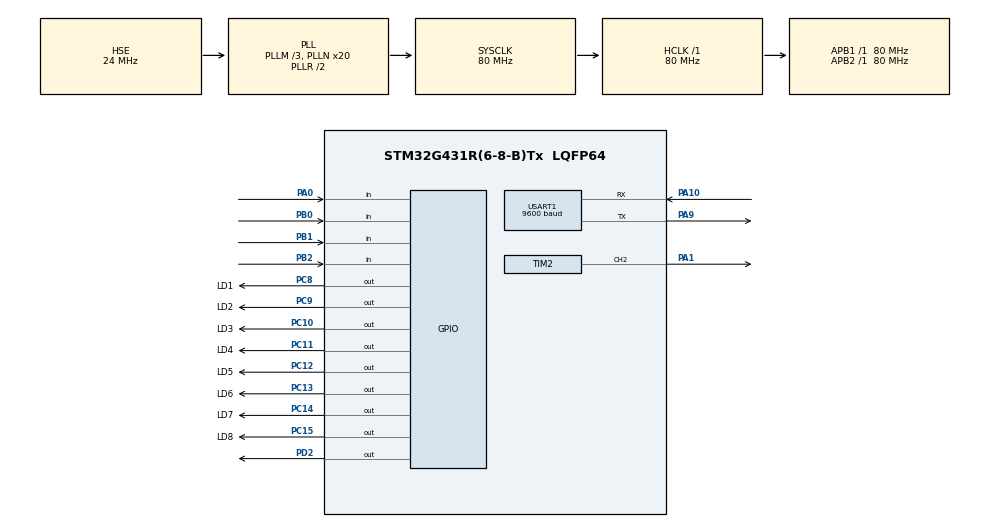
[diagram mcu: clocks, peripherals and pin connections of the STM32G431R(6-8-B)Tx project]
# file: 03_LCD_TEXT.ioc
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Mcu.Family=STM32G4
Mcu.Name=STM32G431R(6-8-B)Tx
Mcu.Package=LQFP64
NVIC.PriorityGroup=NVIC_PRIORITYGROUP_4
NVIC.TIM6_DAC_IRQn=true\:0\:0\:false\:false\:true\:true\:true\:true
NVIC.USART1_IRQn=true\:0\:0\:false\:false\:true\:true\:true\:true
PA0.Signal=GPIO_Input
PA1.Signal=S_TIM2_CH2
PA10.Mode=Asynchronous
PA10.Signal=USART1_RX
PA13.Mode=Serial_Wire
PA13.Signal=SYS_JTMS-SWDIO
PA14.Mode=Serial_Wire
PA14.Signal=SYS_JTCK-SWCLK
PA9.Mode=Asynchronous
PA9.Signal=USART1_TX
PB0.Signal=GPIO_Input
PB1.Signal=GPIO_Input
PB2.Signal=GPIO_Input
PC10.GPIO_Label=LD3
PC10.PinState=GPIO_PIN_SET
PC10.Signal=GPIO_Output
PC11.GPIO_Label=LD4
PC11.PinState=GPIO_PIN_SET
PC11.Signal=GPIO_Output
PC12.GPIO_Label=LD5
PC12.PinState=GPIO_PIN_SET
PC12.Signal=GPIO_Output
PC13.GPIO_Label=LD6
PC13.PinState=GPIO_PIN_SET
PC13.Signal=GPIO_Output
PC14-OSC32_IN.GPIO_Label=LD7
PC14-OSC32_IN.PinState=GPIO_PIN_SET
PC14-OSC32_IN.Signal=GPIO_Output
PC15-OSC32_OUT.GPIO_Label=LD8
PC15-OSC32_OUT.PinState=GPIO_PIN_SET
PC15-OSC32_OUT.Signal=GPIO_Output
PC8.GPIO_Label=LD1
PC8.PinState=GPIO_PIN_SET
PC8.Signal=GPIO_Output
PC9.GPIO_Label=LD2
PC9.PinState=GPIO_PIN_SET
PC9.Signal=GPIO_Output
PD2.Signal=GPIO_Output
PF0-OSC_IN.Mode=HSE-External-Oscillator
PF0-OSC_IN.Signal=RCC_OSC_IN
PF1-OSC_OUT.Mode=HSE-External-Oscillator
PF1-OSC_OUT.Signal=RCC_OSC_OUT
ProjectManager.HeapSize=0x200
ProjectManager.StackSize=0x400
ProjectManager.TargetToolchain=MDK-ARM V5.32
RCC.ADC12Freq_Value=80000000
RCC.AHBFreq_Value=80000000
RCC.APB1Freq_Value=80000000
RCC.APB1TimFreq_Value=80000000
RCC.APB2Freq_Value=80000000
RCC.APB2TimFreq_Value=80000000
RCC.CortexFreq_Value=80000000
RCC.EXTERNAL_CLOCK_VALUE=12288000
RCC.HCLKFreq_Value=80000000
RCC.HSE_VALUE=24000000
RCC.HSI48_VALUE=48000000
RCC.HSI_VALUE=16000000
RCC.LSE_VALUE=32768
RCC.PLLM=RCC_PLLM_DIV3
RCC.PLLN=20
RCC.PLLSourceVirtual=RCC_PLLSOURCE_HSE
RCC.SYSCLKFreq_VALUE=80000000
RCC.SYSCLKSource=RCC_SYSCLKSOURCE_PLLCLK
RCC.USBFreq_Value=80000000
RCC.VCOOutputFreq_Value=160000000
SH.S_TIM2_CH2.0=TIM2_CH2,PWM Generation2 CH2
TIM2.AutoReloadPreload=TIM_AUTORELOAD_PRELOAD_ENABLE
TIM2.Channel-PWM\ Generation2\ CH2=TIM_CHANNEL_2
TIM2.PeriodNoDither=999
TIM2.Prescaler=79
TIM6.AutoReloadPreload=TIM_AUTORELOAD_PRELOAD_ENABLE
TIM6.PeriodNoDither=999
TIM6.Prescaler=79
USART1.BaudRate=9600
USART1.VirtualMode-Asynchronous=VM_ASYNC
VP_SYS_VS_DBSignals.Mode=DisableDeadBatterySignals
VP_TIM2_VS_ClockSourceINT.Mode=Internal
VP_TIM6_VS_ClockSourceINT.Mode=Enable_Timer
board=custom

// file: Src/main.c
/* USER CODE BEGIN Header */
/**
  ******************************************************************************
  * @file           : main.c
  * @brief          : Main program body
  ******************************************************************************
  * @attention
  *
  * Copyright (c) 2023 STMicroelectronics.
  * All rights reserved.
  *
  * This software is licensed under terms that can be found in the LICENSE file
  * in the root directory of this software component.
  * If no LICENSE file comes with this software, it is provided AS-IS.
  *
  ******************************************************************************
  */
/* USER CODE END Header */
#include "main.h"
#include "tim.h"
#include "usart.h"
#include "gpio.h"

/* USER CODE BEGIN Includes */
#include <string.h>
#include <stdio.h>
#include "bsp_key.h"
#include "bsp_led.h"
#include "bsp_lcd.h"

/* USER CODE END Includes */

/* USER CODE BEGIN PV */

/* led专用变量 */

/* lcd专用变量 */
int freq = 1000;
uint8_t D_Pwm = 50;
uint8_t pwm_flag = 0;   /* 0为输出方波，1为输出脉冲 */
uint8_t Lcd_Disp_String[21];
uint8_t lcd_flag_show;

/* 串口专用变量 */
uint8_t rx, rx_buf[7];
uint8_t dex;  /* 密码修改数组索引 */

/* USER CODE END PV */

void SystemClock_Config(void);
/* USER CODE BEGIN PFP */
void LCD_Proc(void);
void LED_Proc(void);
int isRxCplt(void);
void Uart_Proc(void);

/* USER CODE END PFP */

int main(void)
{

  /* MCU Configuration--------------------------------------------------------*/

  /* Reset of all peripherals, Initializes the Flash interface and the Systick. */
  HAL_Init();

  /* Configure the system clock */
  SystemClock_Config();

  /* Initialize all configured peripherals */
  MX_GPIO_Init();
  MX_TIM6_Init();
  MX_USART1_UART_Init();
  MX_TIM2_Init();
  /* USER CODE BEGIN 2 */
	LCD_Init();  /*  LCD初始化 */

  /* USER CODE END 2 */

  /* Infinite loop */
  /* USER CODE BEGIN WHILE */
  LCD_Clear(White);
	LCD_SetBackColor(White);   // 背景颜色
	LCD_SetTextColor(Blue);    // 文本颜色
	HAL_TIM_Base_Start_IT(&htim6);  /* 基础定时器6(1ms)中断开启 */
	HAL_UART_Receive_IT(&huart1, &rx, 1);  /* 打开异步串口1通信 */
	HAL_TIM_PWM_Start(&htim2, TIM_CHANNEL_2);
	__HAL_TIM_SET_AUTORELOAD(&htim2, 999);  /* 设置频率1Khz */
	__HAL_TIM_SET_COMPARE(&htim2, TIM_CHANNEL_2, 500); /* 设置占空比为50% = 500/1000 */

  while (1)
  {
    /* USER CODE END WHILE */

    /* USER CODE BEGIN 3 */
		LED_Proc();
    LCD_Proc();
		Key_Proc();
		Uart_Proc();
  }
  /* USER CODE END 3 */
}

void SystemClock_Config(void)
{
  RCC_OscInitTypeDef RCC_OscInitStruct = {0};
  RCC_ClkInitTypeDef RCC_ClkInitStruct = {0};

  /** Configure the main internal regulator output voltage
  */
  HAL_PWREx_ControlVoltageScaling(PWR_REGULATOR_VOLTAGE_SCALE1);

  /** Initializes the RCC Oscillators according to the specified parameters
  * in the RCC_OscInitTypeDef structure.
  */
  RCC_OscInitStruct.OscillatorType = RCC_OSCILLATORTYPE_HSE;
  RCC_OscInitStruct.HSEState = RCC_HSE_ON;
  RCC_OscInitStruct.PLL.PLLState = RCC_PLL_ON;
  RCC_OscInitStruct.PLL.PLLSource = RCC_PLLSOURCE_HSE;
  RCC_OscInitStruct.PLL.PLLM = RCC_PLLM_DIV3;
  RCC_OscInitStruct.PLL.PLLN = 20;
  RCC_OscInitStruct.PLL.PLLP = RCC_PLLP_DIV2;
  RCC_OscInitStruct.PLL.PLLQ = RCC_PLLQ_DIV2;
  RCC_OscInitStruct.PLL.PLLR = RCC_PLLR_DIV2;
  if (HAL_RCC_OscConfig(&RCC_OscInitStruct) != HAL_OK)
  {
    Error_Handler();
  }

  /** Initializes the CPU, AHB and APB buses clocks
  */
  RCC_ClkInitStruct.ClockType = RCC_CLOCKTYPE_HCLK|RCC_CLOCKTYPE_SYSCLK
                              |RCC_CLOCKTYPE_PCLK1|RCC_CLOCKTYPE_PCLK2;
  RCC_ClkInitStruct.SYSCLKSource = RCC_SYSCLKSOURCE_PLLCLK;
  RCC_ClkInitStruct.AHBCLKDivider = RCC_SYSCLK_DIV1;
  RCC_ClkInitStruct.APB1CLKDivider = RCC_HCLK_DIV1;
  RCC_ClkInitStruct.APB2CLKDivider = RCC_HCLK_DIV1;

  if (HAL_RCC_ClockConfig(&RCC_ClkInitStruct, FLASH_LATENCY_2) != HAL_OK)
  {
    Error_Handler();
  }
}

/* USER CODE BEGIN 4 */

void LCD_Proc(void) {
	static __IO uint32_t uwTick_LCD_Speed = 0;

	if(uwTick - uwTick_LCD_Speed < 100) return;  /* 函数刷新频率 */
	uwTick_LCD_Speed = uwTick;

	if(lcd_flag_show == 1) {  /* 从STA界面切回PSD界面 需要清屏一次 */
		lcd_flag_show = 0;
		LCD_Clear(White);
	}

	/* 默认输出方波，占空比为50% */
	/* 在LED_Proc()中实现pwm_flag的控制 */
	if(pwm_flag == 0) {  /* 输出方波，占空比为50% */
		__HAL_TIM_SET_AUTORELOAD(&htim2, 999);  /* 设置频率1Khz */
		__HAL_TIM_SET_COMPARE(&htim2, TIM_CHANNEL_2, 500); /* 设置占空比为50% = 500/1000 */
	}
	else if(pwm_flag == 1) {  /* 密码正确输出脉冲，占空比为50% */
		__HAL_TIM_SET_AUTORELOAD(&htim2, 499);  /* 设置频率2Khz = 80Mhz/[(AUTORELOAD+1) + 80] 其中80为cubemx配置 */
		__HAL_TIM_SET_COMPARE(&htim2, TIM_CHANNEL_2, 50); /* 设置占空比为10% = 50/500*/
	}

	if(PSD_STA == 0) {  /* 在PSD界面 */
		sprintf((char* )Lcd_Disp_String, (const char* )"       P S D       ");
		LCD_DisplayStringLine(Line2, Lcd_Disp_String);

		sprintf((char* )Lcd_Disp_String, (const char* )"    B1 : %c", mima[0]);
		LCD_DisplayStringLine(Line4, Lcd_Disp_String);
		sprintf((char* )Lcd_Disp_String, (const char* )"    B2 : %c", mima[1]);
		LCD_DisplayStringLine(Line5, Lcd_Disp_String);
		sprintf((char* )Lcd_Disp_String, (const char* )"    B3 : %c", mima[2]);
		LCD_DisplayStringLine(Line6, Lcd_Disp_String);

	}
	else if(PSD_STA == 1) {  /* 在STA界面 */
		memset(Lcd_Disp_String, '\0', sizeof(Lcd_Disp_String));
		sprintf((char* )Lcd_Disp_String, (const char* )"       S T A       ");
		LCD_DisplayStringLine(Line2, Lcd_Disp_String);

		if(pwm_flag == 1) { freq = 2000; D_Pwm = 10; } /* 密码正确后输出脉冲，占空比为10% */
		else { freq = 1000; D_Pwm = 50; }  /* 5s后输出方波，占空比为50% */

		sprintf((char* )Lcd_Disp_String, (const char* )"    F : %04dHz", freq);
		LCD_DisplayStringLine(Line4, Lcd_Disp_String);
		sprintf((char* )Lcd_Disp_String, (const char* )"    D : %02d%%", D_Pwm);
		LCD_DisplayStringLine(Line5, Lcd_Disp_String);
	}

}

void LED_Proc(void) {
    static __IO uint32_t uwTick_LED_Speed;
    if((uwTick - uwTick_LED_Speed) < 100)  return;
		uwTick_LED_Speed = uwTick;

		LED_CLOSE();  // 关灯

		if(right_flag) {  /* 密码输入正确 */
			LED_Disp_OP(LD1);
			pwm_flag = 1;  /* 输出脉冲 */
		}
		else {
			LED_Disp_CL(LD1);
			pwm_flag = 0;  /* 输出脉冲 */
		}

		if(ld2_YN_flag) {
			if(flag)
				LED_Disp_OP(LD2);
			else
				LED_Disp_CL(LD2);
		}
		else LED_Disp_CL(LD2);
}

int isRxCplt(void) {
	uint8_t i;

	if(dex == 0) /* 没有接受到数据 */
		return 0;
	else if(dex != 7) { /* 接收不满7位数据 */
		return -1;
	}
	if(rx_buf[3] == '-') {  /* 接收密码数据正确 */
		for(i = 0; i < 3; i++) {
			if(rx_buf[i] < '0' || rx_buf[i] > '9')  /* 前三位接收合法返回错误 */
				return -1;
		}
		for(i = 4; i < 7; i++) {
			if(rx_buf[i] < '0' || rx_buf[i] > '9')  /* 后三位接收合法返回错误 */
				return -1;
		}
		return 1;
	}
	else return -1; /* 接收到第三个数据不为 '-' 返回错误 */

	return 0;
}

void Uart_Proc(void) {
	static __IO uint32_t uwTick_UART_Speed;
	uint8_t tx[21];

	if((uwTick - uwTick_UART_Speed) < 100)  return;
	uwTick_UART_Speed = uwTick;

	if(isRxCplt() == 1) {
		if((rx_buf[0] == right_mima[0])&&(rx_buf[1] == right_mima[1])&&(rx_buf[2] == right_mima[2])) { /* 发送前三位密码与原始密码相同。则密码正确 */
			/* 修改密码 */
			right_mima[0] = rx_buf[4];
			right_mima[1] = rx_buf[5];
			right_mima[2] = rx_buf[6];

			sprintf((char* )tx, "OK\r\n");
			HAL_UART_Transmit(&huart1, tx, strlen((const char* )tx), 50);/* 向上位机发送OK表示修改成功 */
		}
		else {  /* 输入原始密码错误 */
			sprintf((char* )tx, "ERROR\r\n");
			HAL_UART_Transmit(&huart1, tx, strlen((const char* )tx), 50);/* 向上位机发送错误 */
		}
	}
	else if(isRxCplt() == -1){  /* 接受数据不合法 */
		sprintf((char* )tx, "ERROR\r\n");
		HAL_UART_Transmit(&huart1, tx, strlen((const char* )tx), 50);/* 向上位机发送错误 */
	}
	dex = 0;  /* 清除串口接收数组索引 */
}

void HAL_TIM_PeriodElapsedCallback(TIM_HandleTypeDef* htim) {  /* 定时器中断回调函数 */
	static uint16_t u16_ms = 0;
	static uint16_t u16_100ms = 0;
	static uint16_t u16_5000ms = 0;

	if(htim->Instance == TIM6) {

		if(right_flag) { /* 密码输入正确开始计时 */
			u16_ms++;
			if(u16_ms == 5000) {
				right_flag = 0;
				PSD_STA = 0;   /* 切回界面 */
				mima[0] = mima[1] = mima[2] = '@';
				lcd_flag_show = 1;  /* LCD清屏 */
				u16_ms = 0;
			}
		}

		if(ld2_YN_flag) {
			u16_5000ms++;
			if(u16_5000ms == 5000) {
				ld2_YN_flag = 0;
				u16_5000ms = 0;
			}
		}

		if(++u16_100ms == 100) {
			flag ^= 1;
			u16_100ms = 0;
		}
	}
	HAL_TIM_Base_Start_IT(&htim6);
}

void HAL_UART_RxCpltCallback(UART_HandleTypeDef *huart) {  /* 串口中断回调函数 */
	if(huart -> Instance == USART1)  /* 判断串口号 */
		rx_buf[dex++] = rx;            /* 将数据一位一位存入缓存数组  存入数据后，索引＋1 */
	HAL_UART_Receive_IT(&huart1, &rx, 1);  /* 重新开启接收中断 */
}

/* USER CODE END 4 */

void Error_Handler(void)
{
  __disable_irq();
  while (1)
  {
  }
}
